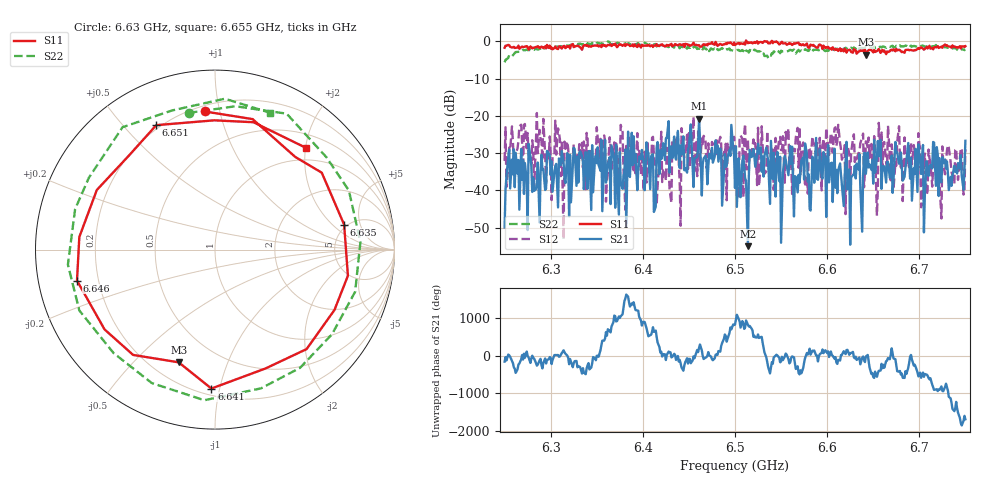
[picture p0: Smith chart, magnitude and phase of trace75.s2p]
# Hz S RI R 50
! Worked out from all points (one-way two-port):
!   401 points, 6.25 GHz to 6.75 GHz, reference 50 ohm
!   highest |S21| = -20.78 dB at 6.461 GHz (marker M1); lowest = -55.0 dB at 6.514 GHz (marker M2)
!   lowest |S11| = -3.6 dB at 6.642 GHz (marker M3), VSWR 4.88, Z = 15.3 - j34.1 ohm
!   |S11| at or under -10 dB: nowhere
!   |S22| runs from -5.6 to 0.0 dB; largest |S21 - S12| = 0.12
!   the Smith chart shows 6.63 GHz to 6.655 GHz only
!   S11 on the Smith chart (normalised r, x): 6.63 GHz: 0.24, +0.90; 6.635 GHz: 4.72, +2.84; 6.641 GHz: 0.24, -0.94; 6.646 GHz: 0.12, -0.11; 6.651 GHz: 0.18, +0.62; 6.655 GHz: 0.75, +2.02
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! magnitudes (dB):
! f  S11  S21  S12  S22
! 6.25 GHz  -1.7  -49.9  -32.1  -5.6
! 6.258 GHz  -1.6  -31.7  -22.8  -4.0
! 6.285 GHz  -1.6  -37.9  -19.2  -2.1
! 6.334 GHz  -2.2  -30.8  -27.2  -0.9
! 6.418 GHz  -1.3  -35.6  -31.7  -1.2
! 6.461 GHz  -1.0  -20.8  -31.1  -2.0
! 6.5 GHz  -1.0  -39.3  -31.7  -2.4
! 6.514 GHz  -0.5  -55.0  -26.2  -2.7
! 6.525 GHz  -0.6  -27.4  -23.2  -2.7
! 6.55 GHz  -0.3  -54.0  -29.1  -2.5
! 6.578 GHz  -0.6  -30.0  -36.1  -2.3
! 6.584 GHz  -1.1  -30.9  -25.5  -2.8
! 6.63 GHz  -2.2  -33.4  -32.4  -2.2
! 6.635 GHz  -2.7  -30.3  -29.8  -1.8
! 6.641 GHz  -2.2  -29.9  -35.0  -1.8
! 6.642 GHz  -3.6  -35.5  -26.8  -1.5
! 6.646 GHz  -2.1  -33.1  -31.2  -1.6
! 6.651 GHz  -2.3  -26.4  -25.4  -1.4
! 6.655 GHz  -2.4  -26.7  -39.6  -1.7
! 6.668 GHz  -2.7  -36.6  -30.7  -1.5
! 6.708 GHz  -1.5  -32.2  -41.2  -1.3
! 6.75 GHz  -1.3  -26.7  -29.0  -2.3
